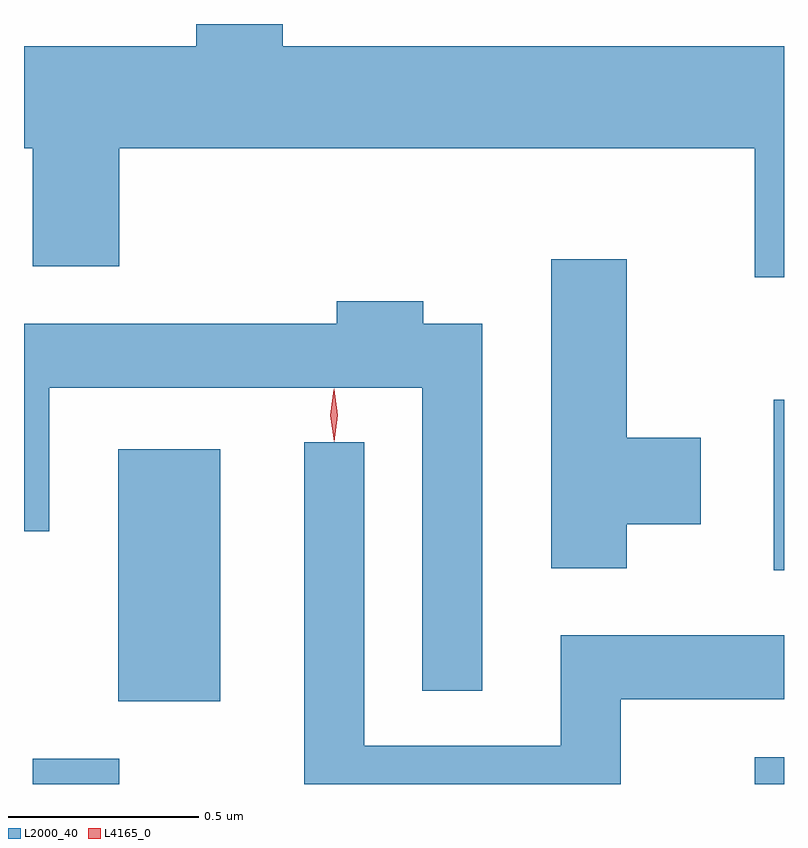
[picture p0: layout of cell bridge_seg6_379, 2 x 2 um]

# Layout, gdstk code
import gdstk
lib = gdstk.Library(unit=1e-6, precision=1e-09)
def R(c, l, rs):  # rectangles x0, y0, x1, y1
    for r in rs: c.add(gdstk.rectangle(r[:2], r[2:], *l))
def P(c, l, *ps):  # polygons
    for p in ps: c.add(gdstk.Polygon(p, *l))
L2000_40 = (2000, 40)
L4165_0 = (4165, 0)

bridge_seg6_379 = lib.new_cell('bridge_seg6_379')
R(bridge_seg6_379, L2000_40, [(1316.161,1537.263,1316.389,1537.329), (1318.061,1537.263,1318.138,1537.334), (1316.386,1537.481,1316.654,1538.144), (1318.111,1537.826,1318.138,1538.274)])
P(bridge_seg6_379, L2000_40, [(1318.138,1539.204),(1316.819,1539.204),(1316.819,1539.263),(1316.591,1539.263),(1316.591,1539.204),(1316.138,1539.204),(1316.138,1538.936),(1316.161,1538.936),(1316.161,1538.626),(1316.389,1538.626),(1316.389,1538.936),(1318.061,1538.936),(1318.061,1538.596),(1318.138,1538.596)],
  [(1317.724,1537.946),(1317.919,1537.946),(1317.919,1538.174),(1317.724,1538.174),(1317.724,1538.644),(1317.526,1538.644),(1317.526,1537.831),(1317.724,1537.831)],
  [(1317.344,1538.474),(1317.189,1538.474),(1317.189,1538.534),(1316.961,1538.534),(1316.961,1538.474),(1316.138,1538.474),(1316.138,1537.928),(1316.204,1537.928),(1316.204,1538.306),(1317.186,1538.306),(1317.186,1537.508),(1317.344,1537.508)],
  [(1317.709,1537.486),(1318.138,1537.486),(1318.138,1537.654),(1317.551,1537.654),(1317.551,1537.364),(1317.034,1537.364),(1317.034,1538.163),(1316.876,1538.163),(1316.876,1537.263),(1317.709,1537.263)])
P(bridge_seg6_379, L4165_0, [(1316.954,1538.167),(1316.954,1538.167),(1316.944,1538.234),(1316.953,1538.3),(1316.954,1538.3),(1316.954,1538.3),(1316.964,1538.234),(1316.954,1538.167)],
  [(1316.954,1538.164),(1316.954,1538.164),(1316.944,1538.233),(1316.954,1538.302),(1316.954,1538.303),(1316.955,1538.302),(1316.964,1538.233),(1316.955,1538.164)])

lib.write_gds('bridge_seg6_379.gds')
